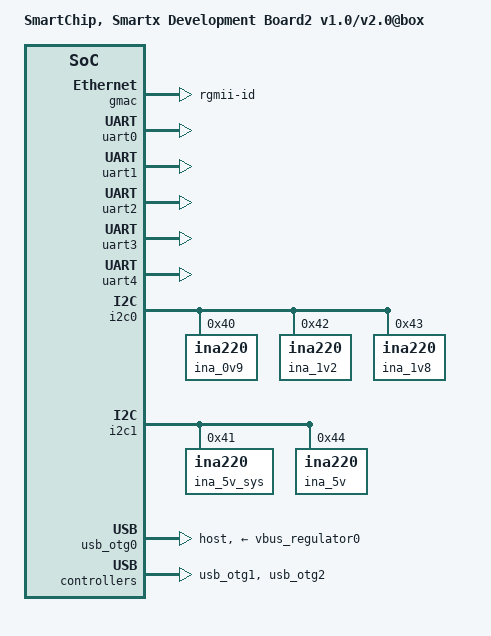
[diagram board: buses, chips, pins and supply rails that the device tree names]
/*
 * Copyright 2015 SmartChip Co., Ltd.
 */

/dts-v1/;
#include <dt-bindings/gpio/gpio.h>
#include <dt-bindings/interrupt-controller/arm-gic.h>
#include <dt-bindings/sca200v100_common.h>
#include "smartchip-sca200v100-memory.dtsi"
#include "smartchip-sca200v100.dtsi"

/ {
	/* core board(borad2) + io board(box) */
	model = "SmartChip, Smartx Development Board2 v1.0/v2.0@box";
};

&gpio_reboot {
	status = "okay";
};

&gmac {
	phy-mode = "rgmii-id";
	status = "okay";
};
&phy0 {
	max-speed = <1000>;
};

&uart0 {
	status = "okay";
};
&uart1 {
	status = "okay";
};
&uart2 {
	status = "okay";
};
&uart3 {
	status = "okay";
};
&uart4 {
	status = "okay";
};

&i2c0 {
	status = "okay";

	ina_0v9@40 {
		reg = <0x40>;
		compatible = "ina220";
		/* uOhm */
		shunt-resistor = <10000>;
	};
	ina_1v2@4c {
		reg = <0x42>;
		compatible = "ina220";
		shunt-resistor = <100000>;
	};
	ina_1v8@42 {
		reg = <0x43>;
		compatible = "ina220";
		shunt-resistor = <100000>;
	};
};

&i2c1 {
	status = "okay";
	ina_5v_sys@41 {
		reg = <0x41>;
		compatible = "ina220";
		shunt-resistor = <100000>;
	};
	ina_5v@44 {
		reg = <0x44>;
		compatible = "ina220";
		shunt-resistor = <100000>;
	};
};

&vbus_regulator0 {
	gpio = <&gpio3_d 2 GPIO_ACTIVE_HIGH>;
};
/delete-node/ &vbus_regulator1;
/delete-node/ &vbus_regulator2;

&usb_otg0 {
	vbus-supply = <&vbus_regulator0>;
	//dr_mode = "otg";
	dr_mode = "host";
	status = "okay";
};
&usb_otg1 {
	status = "okay";
};
&usb_otg2 {
	status = "okay";
};
